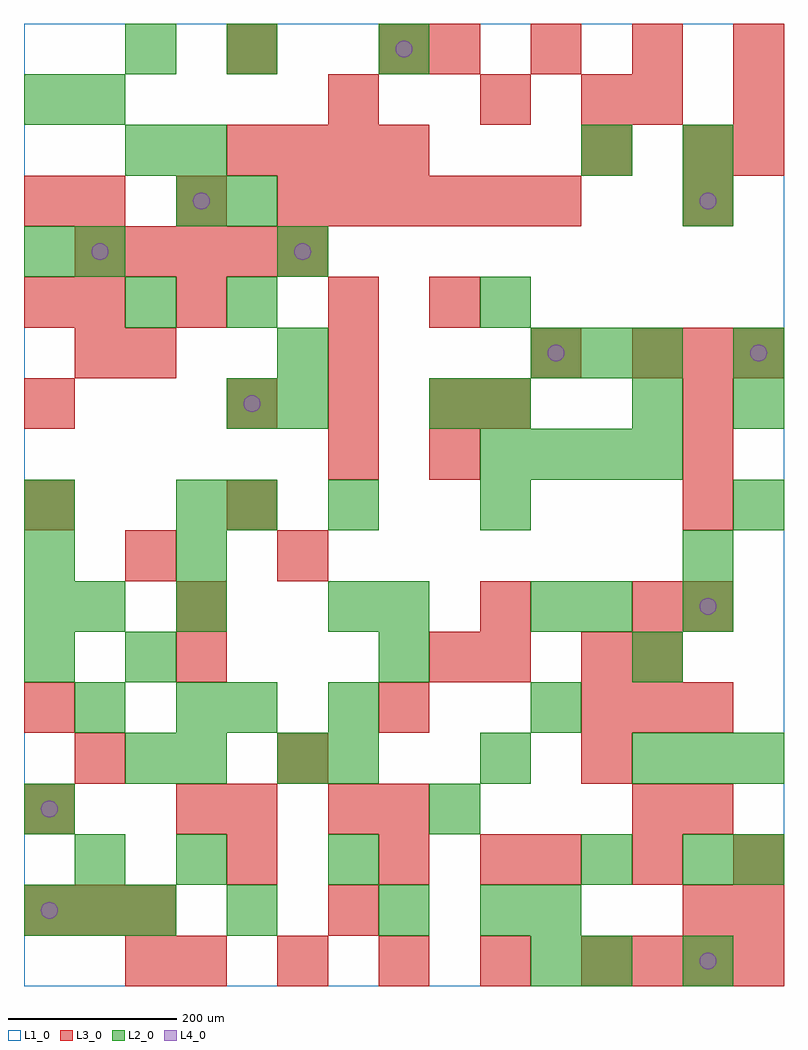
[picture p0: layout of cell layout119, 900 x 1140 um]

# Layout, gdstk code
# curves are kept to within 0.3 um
import gdstk
lib = gdstk.Library(unit=1e-6, precision=1e-09)
def R(c, l, rs):  # rectangles x0, y0, x1, y1
    for r in rs: c.add(gdstk.rectangle(r[:2], r[2:], *l))
def A(c, l, x, y, w, h, nx, ny, dx, dy):  # array of equal rectangles
    R(c, l, [(x+i*dx, y+j*dy, x+i*dx+w, y+j*dy+h) for i in range(nx) for j in range(ny)])
def P(c, l, *ps):  # polygons
    for p in ps: c.add(gdstk.Polygon(p, *l))
L1_0 = (1, 0)
L2_0 = (2, 0)
L3_0 = (3, 0)
L4_0 = (4, 0)

layout119 = lib.new_cell('layout119')
R(layout119, L1_0, [(0,0,900,1140)])
A(layout119, L2_0, 780, 0, 60, 60, 1, 3, 0, 120)
A(layout119, L2_0, 0, 60, 60, 60, 3, 1, 60, 0)
A(layout119, L2_0, 240, 60, 60, 60, 1, 3, 0, 240)
A(layout119, L2_0, 360, 240, 60, 60, 3, 1, 180, 0)
A(layout119, L2_0, 360, 300, 60, 60, 1, 3, 0, 120)
A(layout119, L2_0, 0, 360, 60, 60, 1, 4, 0, 60)
A(layout119, L2_0, 120, 360, 60, 60, 3, 1, 300, 0)
A(layout119, L2_0, 180, 420, 60, 60, 1, 3, 0, 60)
A(layout119, L2_0, 540, 540, 60, 60, 1, 3, 0, 120)
A(layout119, L2_0, 540, 600, 60, 60, 4, 1, 60, 0)
A(layout119, L2_0, 240, 660, 60, 60, 1, 3, 0, 120)
A(layout119, L2_0, 600, 720, 60, 60, 3, 1, 60, 0)
R(layout119, L2_0, [(600,0,660,60), (660,0,720,60), (420,60,480,120), (540,60,600,120), (600,60,660,120), (60,120,120,180), (180,120,240,180), (360,120,420,180), (660,120,720,180), (840,120,900,180), (0,180,60,240), (480,180,540,240), (120,240,180,300), (180,240,240,300), (300,240,360,300), (840,240,900,300), (60,300,120,360), (180,300,240,360), (600,300,660,360), (60,420,120,480), (420,420,480,480), (600,420,660,480), (660,420,720,480), (780,420,840,480), (780,480,840,540), (840,540,900,600), (300,660,360,720), (480,660,540,720), (720,660,780,720), (840,660,900,720), (300,720,360,780), (840,720,900,780), (120,780,180,840), (0,840,60,900), (60,840,120,900), (300,840,360,900), (180,900,240,960), (780,900,840,960), (120,960,180,1020), (180,960,240,1020), (660,960,720,1020), (780,960,840,1020), (0,1020,60,1080), (60,1020,120,1080), (120,1080,180,1140), (240,1080,300,1140), (420,1080,480,1140)])
A(layout119, L3_0, 180, 0, 60, 60, 5, 1, 120, 0)
A(layout119, L3_0, 720, 0, 60, 60, 3, 2, 60, 720)
A(layout119, L3_0, 0, 60, 60, 60, 3, 1, 60, 0)
A(layout119, L3_0, 600, 120, 60, 60, 3, 1, 120, 0)
A(layout119, L3_0, 660, 300, 60, 60, 3, 1, 60, 0)
A(layout119, L3_0, 0, 540, 60, 60, 1, 4, 0, 120)
A(layout119, L3_0, 780, 540, 60, 60, 1, 3, 0, 60)
A(layout119, L3_0, 240, 660, 60, 60, 3, 1, 120, 0)
A(layout119, L3_0, 120, 720, 60, 60, 3, 1, 240, 0)
A(layout119, L3_0, 60, 840, 60, 60, 5, 1, 60, 0)
A(layout119, L3_0, 60, 900, 60, 60, 3, 1, 120, 0)
A(layout119, L3_0, 360, 900, 60, 60, 5, 1, 60, 0)
A(layout119, L3_0, 240, 960, 60, 60, 4, 1, 60, 0)
A(layout119, L3_0, 480, 1080, 60, 60, 4, 1, 120, 0)
R(layout119, L3_0, [(120,0,180,60), (360,60,420,120), (780,60,840,120), (840,60,900,120), (240,120,300,180), (420,120,480,180), (540,120,600,180), (0,180,60,240), (180,180,240,240), (240,180,300,240), (360,180,420,240), (420,180,480,240), (720,180,780,240), (780,180,840,240), (60,240,120,300), (300,240,360,300), (660,240,720,300), (0,300,60,360), (420,300,480,360), (180,360,240,420), (480,360,540,420), (540,360,600,420), (660,360,720,420), (720,360,780,420), (180,420,240,480), (540,420,600,480), (720,420,780,480), (780,420,840,480), (120,480,180,540), (300,480,360,540), (240,540,300,600), (360,600,420,660), (480,600,540,660), (540,660,600,720), (60,720,120,780), (60,780,120,840), (180,780,240,840), (360,780,420,840), (480,780,540,840), (780,900,840,960), (660,960,720,1020), (780,960,840,1020), (840,960,900,1020), (360,1020,420,1080), (540,1020,600,1080), (660,1020,720,1080), (720,1020,780,1080), (840,1020,900,1080), (240,1080,300,1140), (420,1080,480,1140)])
P(layout119, L4_0, [(40,90),(39.239,93.827),(37.071,97.071),(33.827,99.239),(30,100),(26.173,99.239),(22.929,97.071),(20.761,93.827),(20,90),(20.761,86.173),(22.929,82.929),(26.173,80.761),(30,80),(33.827,80.761),(37.071,82.929),(39.239,86.173)],
  [(40,210),(39.239,213.827),(37.071,217.071),(33.827,219.239),(30,220),(26.173,219.239),(22.929,217.071),(20.761,213.827),(20,210),(20.761,206.173),(22.929,202.929),(26.173,200.761),(30,200),(33.827,200.761),(37.071,202.929),(39.239,206.173)],
  [(100,870),(99.239,873.827),(97.071,877.071),(93.827,879.239),(90,880),(86.173,879.239),(82.929,877.071),(80.761,873.827),(80,870),(80.761,866.173),(82.929,862.929),(86.173,860.761),(90,860),(93.827,860.761),(97.071,862.929),(99.239,866.173)],
  [(220,930),(219.239,933.827),(217.071,937.071),(213.827,939.239),(210,940),(206.173,939.239),(202.929,937.071),(200.761,933.827),(200,930),(200.761,926.173),(202.929,922.929),(206.173,920.761),(210,920),(213.827,920.761),(217.071,922.929),(219.239,926.173)],
  [(280,690),(279.239,693.827),(277.071,697.071),(273.827,699.239),(270,700),(266.173,699.239),(262.929,697.071),(260.761,693.827),(260,690),(260.761,686.173),(262.929,682.929),(266.173,680.761),(270,680),(273.827,680.761),(277.071,682.929),(279.239,686.173)],
  [(340,870),(339.239,873.827),(337.071,877.071),(333.827,879.239),(330,880),(326.173,879.239),(322.929,877.071),(320.761,873.827),(320,870),(320.761,866.173),(322.929,862.929),(326.173,860.761),(330,860),(333.827,860.761),(337.071,862.929),(339.239,866.173)],
  [(460,1110),(459.239,1113.827),(457.071,1117.071),(453.827,1119.239),(450,1120),(446.173,1119.239),(442.929,1117.071),(440.761,1113.827),(440,1110),(440.761,1106.173),(442.929,1102.929),(446.173,1100.761),(450,1100),(453.827,1100.761),(457.071,1102.929),(459.239,1106.173)],
  [(640,750),(639.239,753.827),(637.071,757.071),(633.827,759.239),(630,760),(626.173,759.239),(622.929,757.071),(620.761,753.827),(620,750),(620.761,746.173),(622.929,742.929),(626.173,740.761),(630,740),(633.827,740.761),(637.071,742.929),(639.239,746.173)],
  [(820,30),(819.239,33.827),(817.071,37.071),(813.827,39.239),(810,40),(806.173,39.239),(802.929,37.071),(800.761,33.827),(800,30),(800.761,26.173),(802.929,22.929),(806.173,20.761),(810,20),(813.827,20.761),(817.071,22.929),(819.239,26.173)],
  [(820,450),(819.239,453.827),(817.071,457.071),(813.827,459.239),(810,460),(806.173,459.239),(802.929,457.071),(800.761,453.827),(800,450),(800.761,446.173),(802.929,442.929),(806.173,440.761),(810,440),(813.827,440.761),(817.071,442.929),(819.239,446.173)],
  [(820,930),(819.239,933.827),(817.071,937.071),(813.827,939.239),(810,940),(806.173,939.239),(802.929,937.071),(800.761,933.827),(800,930),(800.761,926.173),(802.929,922.929),(806.173,920.761),(810,920),(813.827,920.761),(817.071,922.929),(819.239,926.173)],
  [(880,750),(879.239,753.827),(877.071,757.071),(873.827,759.239),(870,760),(866.173,759.239),(862.929,757.071),(860.761,753.827),(860,750),(860.761,746.173),(862.929,742.929),(866.173,740.761),(870,740),(873.827,740.761),(877.071,742.929),(879.239,746.173)])

lib.write_gds('layout119.gds')
